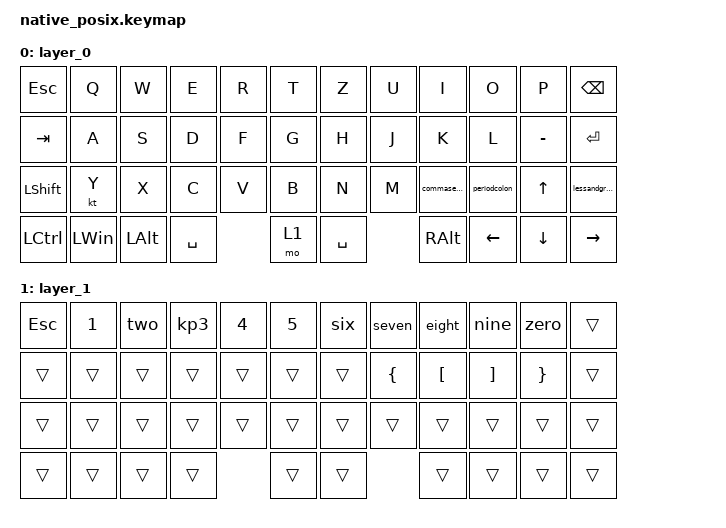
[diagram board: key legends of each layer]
#include <behaviors.dtsi>
#include <dt-bindings/zmk/keys.h>

/ {
    behaviors {
        lessandgreater: lessandgreater {
            compatible = "zmk,behavior-mod-morph";
            label = "LESSANDGREATER";
            bindings = <&kp LESS_THAN>, <&kp GREATER_THAN>;

            #binding-cells = <0>;
            mods = <(MOD_LSFT)>;
        };

        commasemicolon: commasemicolon {
            compatible = "zmk,behavior-mod-morph";
            label = "COMMASEMICOLON";
            bindings = <&kp COMMA>, <&kp SEMICOLON>;

            #binding-cells = <0>;
            mods = <(MOD_LSFT)>;
        };

        periodcolon: periodcolon {
            compatible = "zmk,behavior-mod-morph";
            label = "PERIODCOLON";
            bindings = <&kp PERIOD>, <&kp COLON>;

            #binding-cells = <0>;
            mods = <(MOD_LSFT)>;
        };

        two: two {
            compatible = "zmk,behavior-mod-morph";
            label = "TWO";
            bindings = <&kp KP_NUMBER_2>, <&kp DOUBLE_QUOTES>;

            #binding-cells = <0>;
            mods = <(MOD_LSFT)>;
        };

        six: six {
            compatible = "zmk,behavior-mod-morph";
            label = "SIX";
            bindings = <&kp KP_NUMBER_6>, <&kp AMPERSAND>;

            #binding-cells = <0>;
            mods = <(MOD_LSFT)>;
        };

        seven: seven {
            compatible = "zmk,behavior-mod-morph";
            label = "SEVEN";
            bindings = <&kp KP_NUMBER_7>, <&kp SLASH>;

            #binding-cells = <0>;
            mods = <(MOD_LSFT)>;
        };

        eight: eight {
            compatible = "zmk,behavior-mod-morph";
            label = "EIGHT";
            bindings = <&kp KP_NUMBER_8>, <&kp LEFT_PARENTHESIS>;

            #binding-cells = <0>;
            mods = <(MOD_LSFT)>;
        };

        nine: nine {
            compatible = "zmk,behavior-mod-morph";
            label = "NINE";
            bindings = <&kp KP_NUMBER_9>, <&kp RIGHT_PARENTHESIS>;

            #binding-cells = <0>;
            mods = <(MOD_LSFT)>;
        };

        zero: zero {
            compatible = "zmk,behavior-mod-morph";
            label = "ZERO";
            bindings = <&kp KP_NUMBER_0>, <&kp EQUAL>;

            #binding-cells = <0>;
            mods = <(MOD_LSFT)>;
        };
    };

    keymap {
        compatible = "zmk,keymap";

        layer_0 {
            bindings = <
&kp ESC     &kp Q         &kp W         &kp E      &kp R  &kp T  &kp Z      &kp U  &kp I            &kp O           &kp P           &kp BACKSPACE
&kp TAB     &kp A         &kp S         &kp D      &kp F  &kp G  &kp H      &kp J  &kp K            &kp L           &kp MINUS       &kp ENTER
&kp LSHIFT  &kt Y         &kp X         &kp C      &kp V  &kp B  &kp N      &kp M  &commasemicolon  &periodcolon    &kp UP_ARROW    &lessandgreater
&kp LCTRL   &kp LEFT_WIN  &kp LEFT_ALT  &kp SPACE         &mo 1  &kp SPACE         &kp RIGHT_ALT    &kp LEFT_ARROW  &kp DOWN_ARROW  &kp RIGHT_ARROW
            >;
        };

        layer_1 {
            bindings = <
&kp ESC  &kp NUMBER_1  &two    &kp KP_NUMBER_3  &kp N4  &kp N5  &six    &seven          &eight            &nine              &zero            &trans
&trans   &trans        &trans  &trans           &trans  &trans  &trans  &kp LEFT_BRACE  &kp LEFT_BRACKET  &kp RIGHT_BRACKET  &kp RIGHT_BRACE  &trans
&trans   &trans        &trans  &trans           &trans  &trans  &trans  &trans          &trans            &trans             &trans           &trans
&trans   &trans        &trans  &trans                   &trans  &trans                  &trans            &trans             &trans           &trans
            >;
        };
    };
};
